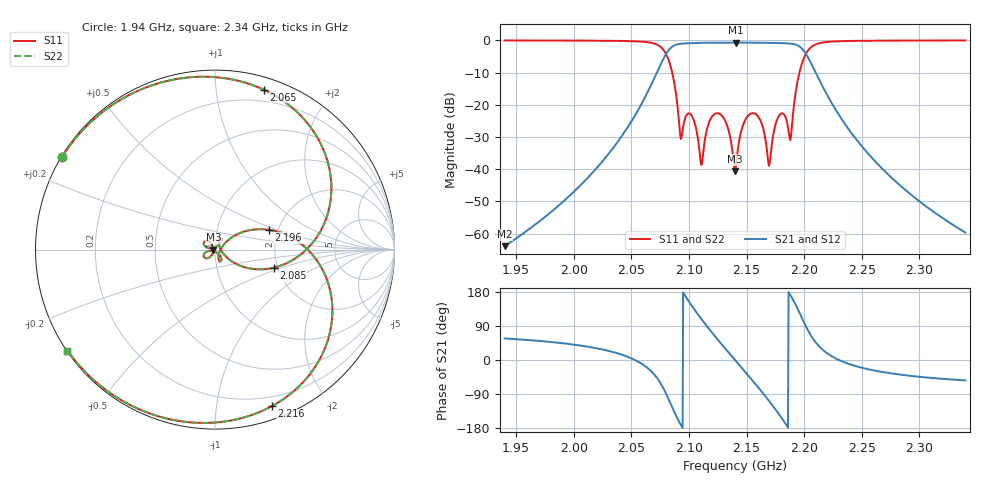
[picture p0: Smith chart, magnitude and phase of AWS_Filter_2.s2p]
!Port 1 is shunt  connected
!Port 2 is shunt  connected
!prototype= pole placed tchebycheff
!n=  5,  np= 0,  rl=  22.000dB
!transform= band pass
!f0= 2140.000MHz,  bw=  100.000MHz, q0= 850.000
!fstart= 1940.000MHz, fstep=  0.500MHz, fstop= 2340.000MHz
# MHZ S MA R 50
!Freq  Mag(S11)  Arg(S11)  Mag(S21)  Arg(S21)  Mag(S12)  Arg(S12)  Mag(S22)  Arg(S22)
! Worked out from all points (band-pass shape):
!   801 points, 1.94 GHz to 2.34 GHz, reference 50 ohm
!   highest |S21| = -0.68 dB at 2.14 GHz (marker M1); lowest = -63.9 dB at 1.94 GHz (marker M2)
!   |S21| within 3 dB of the highest: 2.081 GHz to 2.201 GHz (119.4 MHz wide, 5.58 % of centre)
!   lowest |S11| = -40.6 dB at 2.14 GHz (marker M3), VSWR 1.02, Z = 49.1 - j0.000255 ohm
!   |S11| at or under -10 dB: 2.085 GHz to 2.196 GHz (110.5 MHz wide, 5.16 % of centre)
!   |S22| runs from -40.6 to 0.0 dB; largest |S21 - S12| = 0
!   S11 on the Smith chart (normalised r, x): 1.94 GHz: 0.00, +0.28; 2.065 GHz: 0.10, +1.34; 2.085 GHz: 1.91, -0.44; 2.196 GHz: 1.79, +0.44; 2.216 GHz: 0.11, -1.42; 2.34 GHz: 0.00, -0.31
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1940  0.9962 148.8  0.0006379 56.9  0.0006379 56.9  0.9962 148.8
2007  0.9905 130.6  0.005899 37.6  0.005899 37.6  0.9905 130.6
2065  0.9316 73.1  0.1683 -23.4  0.1683 -23.4  0.9316 73.1
2073.5  0.8368 45.7  0.3549 -52.5  0.3549 -52.5  0.8368 45.7
2085  0.3426 -17.1  0.7855 -121.9  0.7855 -121.9  0.3426 -17.1
2092.5  0.03305 -2.2  0.885 -168.7  0.885 -168.7  0.03305 -2.2
2096  0.05591 68.8  0.8951 173.0  0.8951 173.0  0.05591 68.8
2102.5  0.06724 57.9  0.9056 142.9  0.9056 142.9  0.06724 57.9
2112.5  0.01891 155.8  0.9164 101.3  0.9164 101.3  0.01891 155.8
2118  0.05604 162.9  0.9183 79.9  0.9183 79.9  0.05604 162.9
2126  0.07318 141.4  0.9203 50.3  0.9203 50.3  0.07318 141.4
2140  0.009298 -180.0  0.9246 -0.0  0.9246 -0.0  0.009298 -180.0
2140.5  0.01 -160.0  0.9246 -1.8  0.9246 -1.8  0.01 -160.0
2154.5  0.07363 -142.5  0.9212 -51.7  0.9212 -51.7  0.07363 -142.5
2168  0.01782 -154.6  0.9184 -101.8  0.9184 -101.8  0.01782 -154.6
2179.5  0.07197 -61.1  0.9069 -148.6  0.9069 -148.6  0.07197 -61.1
2188  0.02824 -19.0  0.8918 171.7  0.8918 171.7  0.02824 -19.0
2196  0.3202 20.2  0.8026 124.7  0.8026 124.7  0.3202 20.2
2207  0.8068 -38.8  0.4091 59.3  0.4091 59.3  0.8068 -38.8
2216.5  0.9283 -70.1  0.1861 26.1  0.1861 26.1  0.9283 -70.1
2273.5  0.9903 -127.2  0.008092 -34.4  0.008092 -34.4  0.9903 -127.2
2340  0.9962 -145.6  0.001036 -53.8  0.001036 -53.8  0.9962 -145.6
